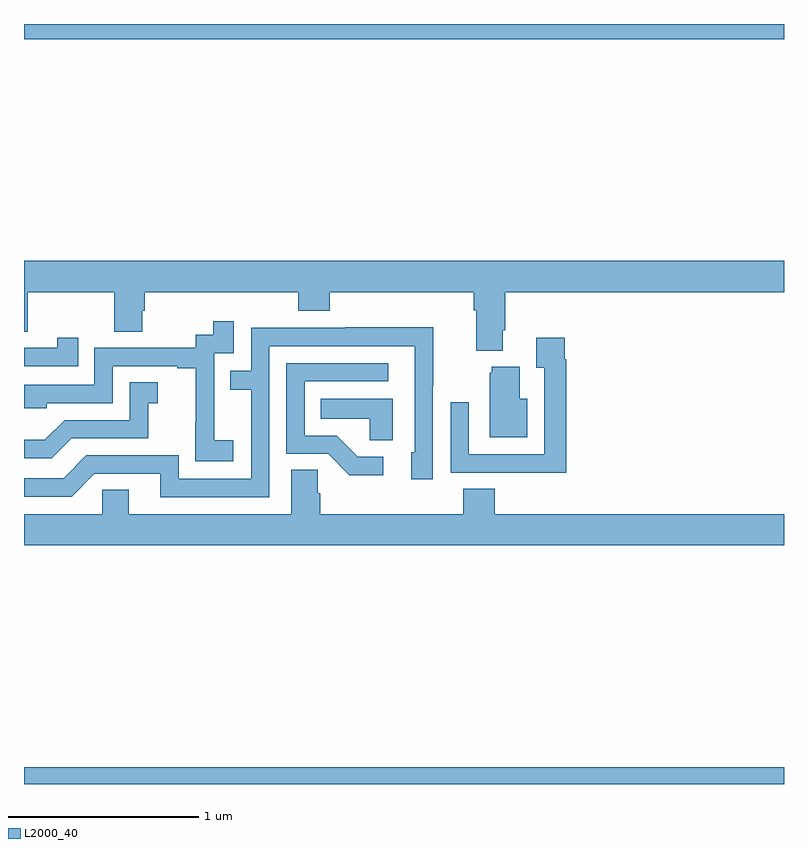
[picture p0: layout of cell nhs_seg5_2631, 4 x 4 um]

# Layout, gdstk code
import gdstk
lib = gdstk.Library(unit=1e-6, precision=1e-09)
def R(c, l, rs):  # rectangles x0, y0, x1, y1
    for r in rs: c.add(gdstk.rectangle(r[:2], r[2:], *l))
def P(c, l, *ps):  # polygons
    for p in ps: c.add(gdstk.Polygon(p, *l))
L2000_40 = (2000, 40)

nhs_seg5_2631 = lib.new_cell('nhs_seg5_2631')
R(nhs_seg5_2631, L2000_40, [(263,892.799,267,892.888), (263,896.72,267,896.799)])
P(nhs_seg5_2631, L2000_40, [(265.519,895.186),(265.532,895.186),(265.532,895.388),(267,895.388),(267,895.552),(263,895.552),(263,895.18),(263.019,895.18),(263.019,895.388),(263.476,895.388),(263.476,895.18),(263.623,895.18),(263.623,895.29),(263.636,895.29),(263.636,895.388),(264.443,895.388),(264.443,895.289),(264.608,895.289),(264.608,895.388),(265.367,895.388),(265.367,895.292),(265.379,895.292),(265.379,895.079),(265.519,895.079)],
  [(264.1,894.607),(264.002,894.607),(264.002,894.836),(264,894.836),(264,895.065),(264.105,895.065),(264.105,895.234),(263.997,895.234),(263.997,895.164),(263.904,895.164),(263.904,895.095),(263.37,895.095),(263.37,894.9),(263,894.9),(263,894.777),(263.121,894.777),(263.121,894.804),(263.466,894.804),(263.466,894.999),(263.807,894.999),(263.807,894.987),(263.903,894.987),(263.903,894.703),(263.902,894.703),(263.902,894.497),(264.1,894.497)],
  [(264.291,895.104),(265.056,895.104),(265.056,894.546),(265.037,894.546),(265.037,894.402),(265.152,894.402),(265.152,894.895),(265.155,894.895),(265.155,895.202),(264.691,895.202),(264.691,895.2),(264.195,895.2),(264.195,894.975),(264.085,894.975),(264.085,894.874),(264.195,894.874),(264.195,894.405),(263.814,894.405),(263.814,894.528),(263.328,894.528),(263.208,894.408),(263,894.408),(263,894.312),(263.25,894.312),(263.37,894.432),(263.717,894.432),(263.717,894.309),(264.291,894.309)],
  [(263.285,895.147),(263.174,895.147),(263.174,895.095),(263,895.095),(263,894.999),(263.285,894.999)],
  [(265.853,895.034),(265.846,895.034),(265.846,895.147),(265.697,895.147),(265.697,894.991),(265.737,894.991),(265.737,894.534),(265.341,894.534),(265.341,894.808),(265.245,894.808),(265.245,894.438),(265.561,894.438),(265.561,894.437),(265.853,894.437)],
  [(264.892,894.522),(264.757,894.522),(264.646,894.633),(264.477,894.633),(264.477,894.918),(264.916,894.918),(264.916,895.014),(264.381,895.014),(264.381,894.537),(264.6,894.537),(264.713,894.425),(264.892,894.425)],
  [(265.648,894.826),(265.609,894.826),(265.609,894.994),(265.463,894.994),(265.463,894.963),(265.451,894.963),(265.451,894.623),(265.648,894.623)],
  [(263.251,894.618),(263.655,894.618),(263.655,894.803),(263.704,894.803),(263.704,894.913),(263.556,894.913),(263.556,894.714),(263.214,894.714),(263.11,894.61),(263,894.61),(263,894.513),(263.146,894.513)],
  [(264.94,894.826),(264.562,894.826),(264.562,894.722),(264.819,894.722),(264.819,894.607),(264.94,894.607)],
  [(267,894.22),(265.478,894.22),(265.478,894.353),(265.313,894.353),(265.313,894.22),(264.56,894.22),(264.56,894.329),(264.546,894.329),(264.546,894.452),(264.407,894.452),(264.407,894.22),(263.551,894.22),(263.551,894.347),(263.412,894.347),(263.412,894.22),(263,894.22),(263,894.056),(267,894.056)])

lib.write_gds('nhs_seg5_2631.gds')
